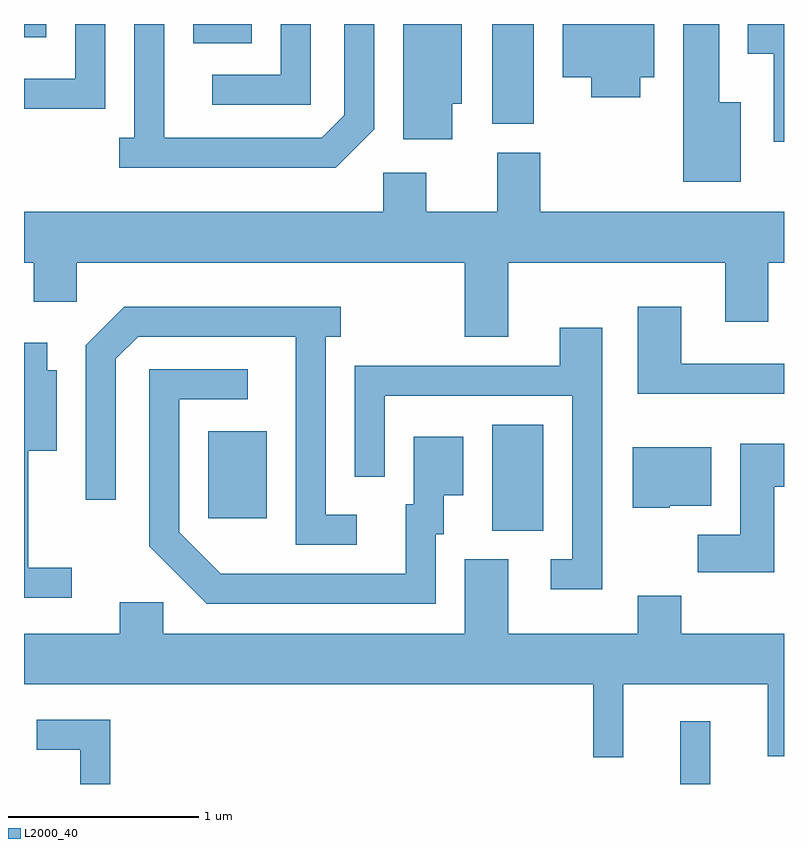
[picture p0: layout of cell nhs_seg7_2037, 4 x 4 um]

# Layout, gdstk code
import gdstk
lib = gdstk.Library(unit=1e-6, precision=1e-09)
def R(c, l, rs):  # rectangles x0, y0, x1, y1
    for r in rs: c.add(gdstk.rectangle(r[:2], r[2:], *l))
def P(c, l, *ps):  # polygons
    for p in ps: c.add(gdstk.Polygon(p, *l))
L2000_40 = (2000, 40)

nhs_seg7_2037 = lib.new_cell('nhs_seg7_2037')
R(nhs_seg7_2037, L2000_40, [(251.066,1698.252,251.224,1698.583), (250.076,1699.586,250.344,1700.144), (248.581,1699.651,248.889,1700.109), (250.076,1701.726,250.294,1702.252), (248.501,1702.151,248.809,1702.252), (247.611,1702.181,247.729,1702.252)])
P(nhs_seg7_2037, L2000_40, [(251.611,1702.252),(251.421,1702.252),(251.421,1702.096),(251.556,1702.096),(251.556,1701.631),(251.611,1701.631)],
  [(249.454,1701.699),(249.454,1702.252),(249.296,1702.252),(249.296,1701.772),(249.179,1701.654),(248.349,1701.654),(248.349,1702.252),(248.191,1702.252),(248.191,1701.654),(248.113,1701.654),(248.113,1701.496),(249.252,1701.496)],
  [(248.039,1702.252),(247.881,1702.252),(247.881,1701.964),(247.611,1701.964),(247.611,1701.806),(248.039,1701.806)],
  [(249.119,1702.252),(248.961,1702.252),(248.961,1701.984),(248.603,1701.984),(248.603,1701.826),(249.119,1701.826)],
  [(249.864,1701.831),(249.914,1701.831),(249.914,1702.252),(249.606,1702.252),(249.606,1701.646),(249.864,1701.646)],
  [(250.854,1701.971),(250.929,1701.971),(250.929,1702.252),(250.446,1702.252),(250.446,1701.971),(250.596,1701.971),(250.596,1701.866),(250.854,1701.866)],
  [(251.384,1701.839),(251.269,1701.839),(251.269,1702.252),(251.081,1702.252),(251.081,1701.421),(251.384,1701.421)],
  [(250.159,1700.996),(251.301,1700.996),(251.301,1700.686),(251.529,1700.686),(251.529,1700.996),(251.611,1700.996),(251.611,1701.264),(250.329,1701.264),(250.329,1701.574),(250.101,1701.574),(250.101,1701.264),(249.729,1701.264),(249.729,1701.469),(249.501,1701.469),(249.501,1701.264),(247.611,1701.264),(247.611,1700.996),(247.661,1700.996),(247.661,1700.791),(247.889,1700.791),(247.889,1700.996),(249.931,1700.996),(249.931,1700.606),(250.159,1700.606)],
  [(249.363,1699.669),(249.199,1699.669),(249.199,1700.606),(249.278,1700.606),(249.278,1700.764),(248.139,1700.764),(247.936,1700.562),(247.936,1699.748),(248.094,1699.748),(248.094,1700.489),(248.212,1700.606),(249.041,1700.606),(249.041,1699.511),(249.363,1699.511)],
  [(251.611,1700.464),(251.069,1700.464),(251.069,1700.764),(250.841,1700.764),(250.841,1700.306),(251.611,1700.306)],
  [(250.654,1700.654),(250.431,1700.654),(250.431,1700.454),(249.351,1700.454),(249.351,1699.868),(249.509,1699.868),(249.509,1700.296),(250.496,1700.296),(250.496,1699.434),(250.383,1699.434),(250.383,1699.276),(250.654,1699.276)],
  [(247.863,1699.389),(247.634,1699.389),(247.634,1700.006),(247.784,1700.006),(247.784,1700.429),(247.734,1700.429),(247.734,1700.574),(247.611,1700.574),(247.611,1699.231),(247.863,1699.231)],
  [(249.779,1699.566),(249.819,1699.566),(249.819,1699.771),(249.924,1699.771),(249.924,1700.079),(249.661,1700.079),(249.661,1699.724),(249.621,1699.724),(249.621,1699.359),(248.647,1699.359),(248.429,1699.577),(248.429,1700.276),(248.788,1700.276),(248.788,1700.434),(248.271,1700.434),(248.271,1699.504),(248.574,1699.201),(249.779,1699.201)],
  [(251.559,1699.816),(251.611,1699.816),(251.611,1700.044),(251.381,1700.044),(251.381,1699.564),(251.156,1699.564),(251.156,1699.366),(251.559,1699.366)],
  [(251.01,1699.716),(251.229,1699.716),(251.229,1700.024),(250.816,1700.024),(250.816,1699.706),(251.01,1699.706)],
  [(250.764,1698.776),(251.526,1698.776),(251.526,1698.398),(251.611,1698.398),(251.611,1699.044),(251.069,1699.044),(251.069,1699.244),(250.841,1699.244),(250.841,1699.044),(250.159,1699.044),(250.159,1699.434),(249.931,1699.434),(249.931,1699.044),(248.344,1699.044),(248.344,1699.209),(248.116,1699.209),(248.116,1699.044),(247.611,1699.044),(247.611,1698.776),(250.606,1698.776),(250.606,1698.393),(250.764,1698.393)],
  [(248.064,1698.589),(247.678,1698.589),(247.678,1698.431),(247.906,1698.431),(247.906,1698.252),(248.064,1698.252)])

lib.write_gds('nhs_seg7_2037.gds')
